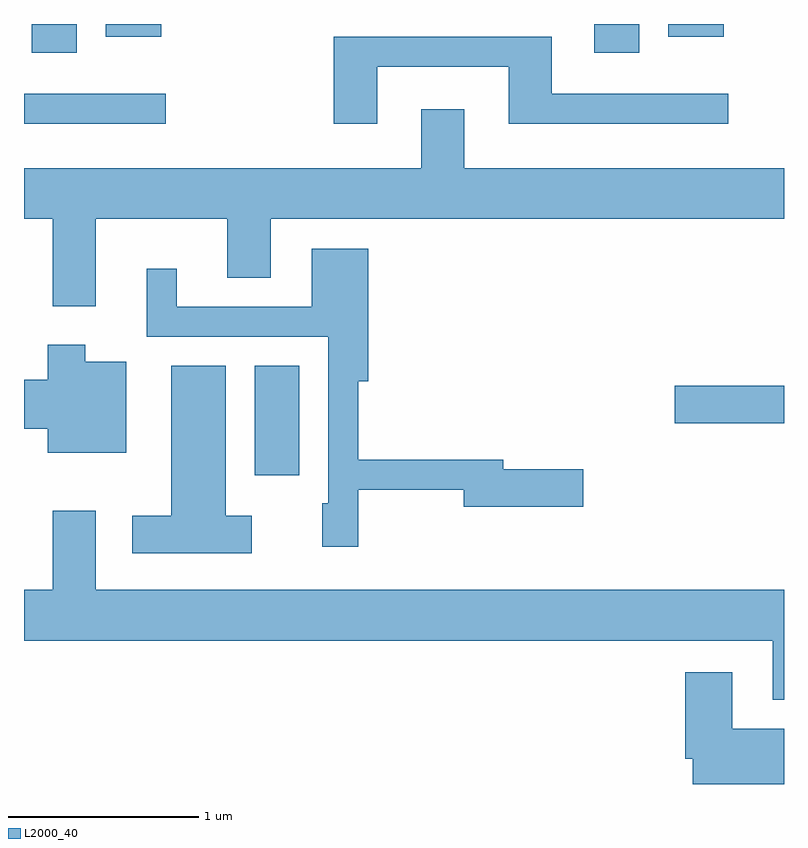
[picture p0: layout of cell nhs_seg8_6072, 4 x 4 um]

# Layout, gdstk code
import gdstk
lib = gdstk.Library(unit=1e-6, precision=1e-09)
def R(c, l, rs):  # rectangles x0, y0, x1, y1
    for r in rs: c.add(gdstk.rectangle(r[:2], r[2:], *l))
def P(c, l, *ps):  # polygons
    for p in ps: c.add(gdstk.Polygon(p, *l))
L2000_40 = (2000, 40)

nhs_seg8_6072 = lib.new_cell('nhs_seg8_6072')
R(nhs_seg8_6072, L2000_40, [(368.826,1823.966,369.059,1824.544), (371.036,1824.241,371.611,1824.439), (367.611,1825.816,368.358,1825.974), (367.653,1826.191,367.889,1826.342), (370.613,1826.191,370.849,1826.342), (368.041,1826.276,368.334,1826.342), (371.001,1826.276,371.294,1826.342)])
P(nhs_seg8_6072, L2000_40, [(369.469,1826.116),(370.161,1826.116),(370.161,1825.816),(371.318,1825.816),(371.318,1825.974),(370.389,1825.974),(370.389,1826.274),(369.241,1826.274),(369.241,1825.816),(369.469,1825.816)],
  [(367.989,1825.316),(368.681,1825.316),(368.681,1825.006),(368.909,1825.006),(368.909,1825.316),(371.611,1825.316),(371.611,1825.584),(369.929,1825.584),(369.929,1825.894),(369.701,1825.894),(369.701,1825.584),(367.611,1825.584),(367.611,1825.316),(367.761,1825.316),(367.761,1824.856),(367.989,1824.856)],
  [(369.369,1823.891),(369.926,1823.891),(369.926,1823.801),(370.554,1823.801),(370.554,1823.999),(370.134,1823.999),(370.134,1824.049),(369.369,1824.049),(369.369,1824.461),(369.424,1824.461),(369.424,1825.159),(369.126,1825.159),(369.126,1824.854),(368.414,1824.854),(368.414,1825.053),(368.256,1825.053),(368.256,1824.696),(369.211,1824.696),(369.211,1823.819),(369.181,1823.819),(369.181,1823.591),(369.369,1823.591)],
  [(368.149,1824.564),(367.934,1824.564),(367.934,1824.654),(367.736,1824.654),(367.736,1824.469),(367.611,1824.469),(367.611,1824.211),(367.736,1824.211),(367.736,1824.086),(368.149,1824.086)],
  [(368.809,1823.754),(368.674,1823.754),(368.674,1824.544),(368.386,1824.544),(368.386,1823.754),(368.181,1823.754),(368.181,1823.556),(368.809,1823.556)],
  [(371.611,1823.364),(367.989,1823.364),(367.989,1823.779),(367.761,1823.779),(367.761,1823.364),(367.611,1823.364),(367.611,1823.096),(371.551,1823.096),(371.551,1822.786),(371.611,1822.786)],
  [(371.611,1822.634),(371.339,1822.634),(371.339,1822.929),(371.091,1822.929),(371.091,1822.476),(371.131,1822.476),(371.131,1822.342),(371.611,1822.342)])

lib.write_gds('nhs_seg8_6072.gds')
